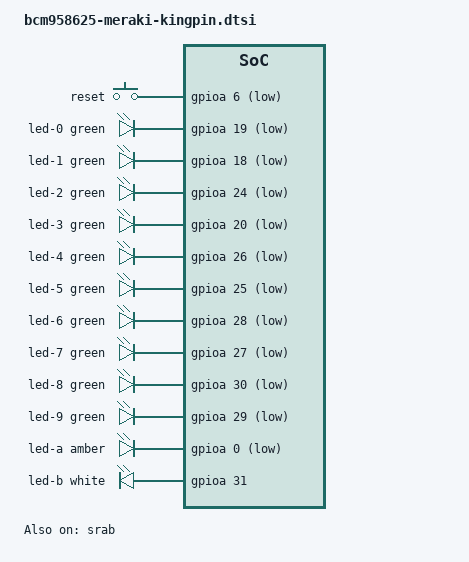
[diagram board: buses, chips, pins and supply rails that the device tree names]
// SPDX-License-Identifier: GPL-2.0-or-later OR MIT
/*
 * Device Tree Bindings for Cisco Meraki MX64 series (Kingpin).
 *
 * Copyright (C) 2020-2021 Matthew Hagan <mnhagan88@gmail.com>
 */

#include "bcm958625-meraki-mx6x-common.dtsi"

/ {

	keys {
		compatible = "gpio-keys-polled";
		autorepeat;
		poll-interval = <20>;

		button-reset {
			label = "reset";
			linux,code = <KEY_RESTART>;
			gpios = <&gpioa 6 GPIO_ACTIVE_LOW>;
		};
	};

	leds {
		compatible = "gpio-leds";

		led-0 {
			/* green:lan1-left */
			function = LED_FUNCTION_ACTIVITY;
			function-enumerator = <0>;
			color = <LED_COLOR_ID_GREEN>;
			gpios = <&gpioa 19 GPIO_ACTIVE_LOW>;
		};

		led-1 {
			/* green:lan1-right */
			function = LED_FUNCTION_ACTIVITY;
			function-enumerator = <1>;
			color = <LED_COLOR_ID_GREEN>;
			gpios = <&gpioa 18 GPIO_ACTIVE_LOW>;
		};

		led-2 {
			/* green:lan2-left */
			function = LED_FUNCTION_ACTIVITY;
			function-enumerator = <2>;
			color = <LED_COLOR_ID_GREEN>;
			gpios = <&gpioa 24 GPIO_ACTIVE_LOW>;
		};

		led-3 {
			/* green:lan2-right */
			function = LED_FUNCTION_ACTIVITY;
			function-enumerator = <3>;
			color = <LED_COLOR_ID_GREEN>;
			gpios = <&gpioa 20 GPIO_ACTIVE_LOW>;
		};

		led-4 {
			/* green:lan3-left */
			function = LED_FUNCTION_ACTIVITY;
			function-enumerator = <4>;
			color = <LED_COLOR_ID_GREEN>;
			gpios = <&gpioa 26 GPIO_ACTIVE_LOW>;
		};

		led-5 {
			/* green:lan3-right */
			function = LED_FUNCTION_ACTIVITY;
			function-enumerator = <5>;
			color = <LED_COLOR_ID_GREEN>;
			gpios = <&gpioa 25 GPIO_ACTIVE_LOW>;
		};

		led-6 {
			/* green:lan4-left */
			function = LED_FUNCTION_ACTIVITY;
			function-enumerator = <6>;
			color = <LED_COLOR_ID_GREEN>;
			gpios = <&gpioa 28 GPIO_ACTIVE_LOW>;
		};

		led-7 {
			/* green:lan4-right */
			function = LED_FUNCTION_ACTIVITY;
			function-enumerator = <7>;
			color = <LED_COLOR_ID_GREEN>;
			gpios = <&gpioa 27 GPIO_ACTIVE_LOW>;
		};

		led-8 {
			/* green:wan-left */
			function = LED_FUNCTION_ACTIVITY;
			function-enumerator = <8>;
			color = <LED_COLOR_ID_GREEN>;
			gpios = <&gpioa 30 GPIO_ACTIVE_LOW>;
		};

		led-9 {
			/* green:wan-right */
			function = LED_FUNCTION_ACTIVITY;
			function-enumerator = <9>;
			color = <LED_COLOR_ID_GREEN>;
			gpios = <&gpioa 29 GPIO_ACTIVE_LOW>;
		};

		led-a {
			/* amber:power */
			function = LED_FUNCTION_FAULT;
			color = <LED_COLOR_ID_AMBER>;
			gpios = <&gpioa 0 GPIO_ACTIVE_LOW>;
		};

		led-b {
			/* white:status */
			function = LED_FUNCTION_STATUS;
			color = <LED_COLOR_ID_WHITE>;
			gpios = <&gpioa 31 GPIO_ACTIVE_HIGH>;
		};
	};
};

&srab {
	compatible = "brcm,bcm58625-srab", "brcm,nsp-srab";
	status = "okay";

	ports {
		port@0 {
			label = "lan1";
			reg = <0>;
		};

		port@1 {
			label = "lan2";
			reg = <1>;
		};

		port@2 {
			label = "lan3";
			reg = <2>;
		};

		port@3 {
			label = "lan4";
			reg = <3>;
		};

		port@4 {
			label = "wan";
			reg = <4>;
		};

		port@8 {
			ethernet = <&amac2>;
			reg = <8>;
			fixed-link {
				speed = <1000>;
				full-duplex;
			};
		};
	};
};
